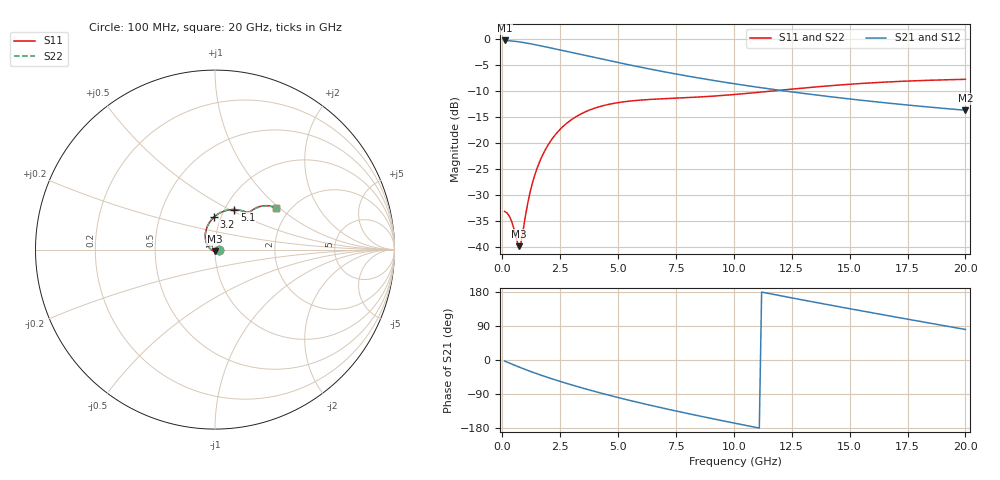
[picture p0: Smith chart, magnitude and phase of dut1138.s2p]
! Touchstone file exported from HFSS 2024.1.0
!  File:  C:/UserFiles/LocalFiles/RDL_TSV_Batchsim/temp_RDL_TSV_1138_1780113069.aedt
!  Generated:  12:07:50 PM May 30, 2026
!  Design:  RDL_TSV
!  Project:  temp_RDL_TSV_1138_1780113069
!  Setup:  Setup1
!  Solution:  Sweep
! Variables:
!  dtsv = 14.49um
!  hbump = 3um
!  htsv = 95.48um
!  ldown = 324.03um
!  lrdl = 696.41um
!  p = 40
!  p1 = 56.03um
!  rhole = 10um
!  subl = 3757.73um
!  t = 450um
!  tdown = 4.46um
!  trdl = 2.61um
!  viad = 10um
!  wdown = 28.39um
!  wrdl = 19.51um
!  xbump = 18um
# GHz S MA R 50.000000
! Terminal data exported
! Port[1] = TM1_1_T1
! Port[2] = TM1_4_T1
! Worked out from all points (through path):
!   200 points, 100 MHz to 20 GHz, reference 50 ohm
!   highest |S21| = -0.20 dB at 100 MHz (marker M1); lowest = -13.7 dB at 20 GHz (marker M2)
!   group delay of S21, straight-line fit = 36.5 ps
!   lowest |S11| = -39.9 dB at 700 MHz (marker M3), VSWR 1.02, Z = 49.9 - j1.01 ohm
!   |S11| at or under -10 dB: start of sweep to 11.56 GHz
!   |S22| runs from -39.9 to -7.7 dB; largest |S21 - S12| = 1e-14
!   S11 on the Smith chart (normalised r, x): 100 MHz: 1.04, -0.00; 3.2 GHz: 0.93, +0.35; 5.1 GHz: 1.11, +0.53; 20 GHz: 1.70, +0.95
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0.1  0.0219 -5.7  0.977 -2.7  0.977 -2.7  0.0219 -5.7
! Gamma 0 0 0 0
! Port Impedance 50 0 50 0
0.3  0.01981 -20.3  0.9711 -7.9  0.9711 -7.9  0.01981 -20.3
0.4  0.01767 -30.3  0.9666 -10.5  0.9666 -10.5  0.01766 -30.3
0.7  0.01012 -92.3  0.9488 -18.0  0.9488 -18.0  0.01011 -92.5
0.8  0.01075 -129.1  0.9417 -20.4  0.9417 -20.4  0.01076 -129.3
1.1  0.02637 171.6  0.9175 -27.5  0.9175 -27.5  0.02644 171.5
1.3  0.04105 155.4  0.9 -32.0  0.9 -32.0  0.04116 155.3
1.5  0.05691 144.0  0.8818 -36.4  0.8818 -36.4  0.05706 143.9
1.7  0.07324 134.8  0.8634 -40.6  0.8634 -40.6  0.07344 134.8
2  0.09767 123.4  0.8359 -46.8  0.8359 -46.8  0.09795 123.5
2.3  0.1211 113.9  0.8087 -52.7  0.8087 -52.7  0.1215 113.9
3.2  0.1806 91.9  0.7314 -69.4  0.7314 -69.4  0.1812 91.9
3.5  0.1961 86.1  0.7072 -74.6  0.7072 -74.6  0.1968 86.1
4.3  0.2277 73.5  0.6465 -88.0  0.6465 -88.0  0.2286 73.5
5.1  0.2474 64.3  0.592 -100.6  0.592 -100.6  0.2484 64.3
6.8  0.2667 52.7  0.4961 -125.1  0.4961 -125.1  0.2678 52.6
8.3  0.2767 48.6  0.4311 -145.0  0.4311 -145.0  0.2777 48.4
10.1  0.2951 47.0  0.3711 -167.5  0.3711 -167.5  0.2958 46.7
11.8  0.3201 45.8  0.3271 172.1  0.3271 172.1  0.3205 45.5
13.4  0.3458 43.9  0.2937 153.5  0.2937 153.5  0.3459 43.7
16.7  0.3891 38.7  0.2424 116.5  0.2424 116.5  0.3887 38.5
20  0.412 34.2  0.2073 80.6  0.2073 80.6  0.4113 34.1
